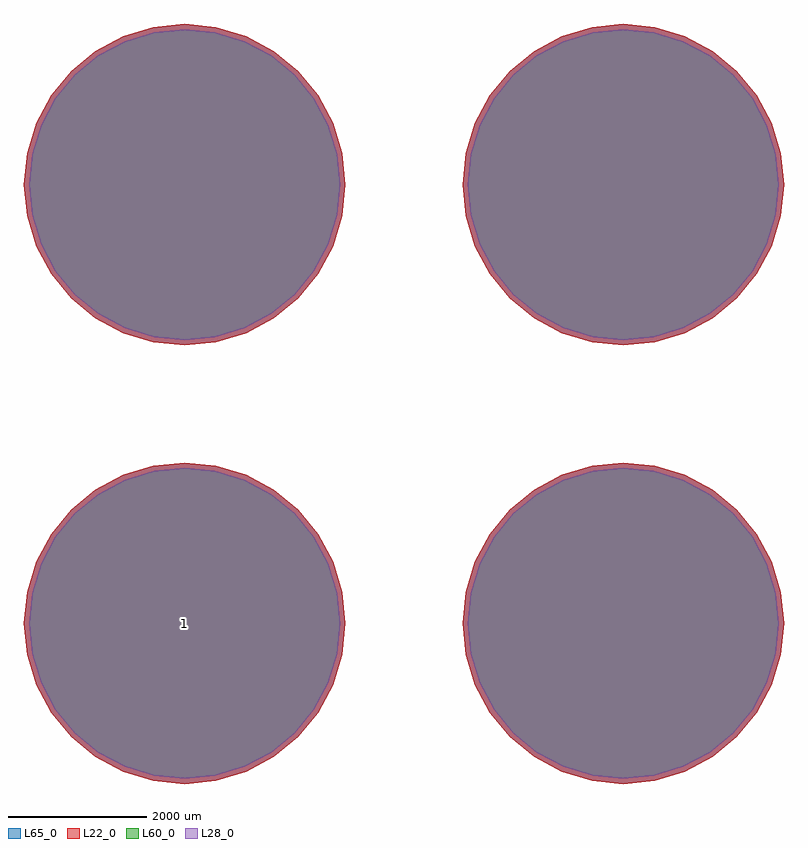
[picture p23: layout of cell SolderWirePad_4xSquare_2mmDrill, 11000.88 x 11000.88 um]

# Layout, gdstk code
import gdstk
lib = gdstk.Library(unit=1e-6, precision=1e-09)
def P(c, l, *ps):  # polygons
    for p in ps: c.add(gdstk.Polygon(p, *l))
L22_0 = (22, 0)
L28_0 = (28, 0)
L60_0 = (60, 0)
L65_0 = (65, 0)

solderwirepad_4xsquare_2 = lib.new_cell('SolderWirePad_4xSquare_2mmDrill')
P(solderwirepad_4xsquare_2, L22_0, [(5500.44,3175),(5455.757,3628.671),(5323.426,4064.907),(5108.533,4466.945),(4819.334,4819.334),(4466.945,5108.533),(4064.907,5323.426),(3628.671,5455.757),(3175,5500.44),(2721.329,5455.757),(2285.093,5323.426),(1883.055,5108.533),(1530.666,4819.334),(1241.467,4466.945),(1026.574,4064.907),(894.243,3628.671),(849.56,3175),(894.243,2721.329),(1026.574,2285.093),(1241.467,1883.055),(1530.666,1530.666),(1883.055,1241.467),(2285.093,1026.574),(2721.329,894.243),(3175,849.56),(3628.671,894.243),(4064.907,1026.574),(4466.945,1241.467),(4819.334,1530.666),(5108.533,1883.055),(5323.426,2285.093),(5455.757,2721.329)],
  [(-849.56,3175),(-894.243,3628.671),(-1026.574,4064.907),(-1241.467,4466.945),(-1530.666,4819.334),(-1883.055,5108.533),(-2285.093,5323.426),(-2721.329,5455.757),(-3175,5500.44),(-3628.671,5455.757),(-4064.907,5323.426),(-4466.945,5108.533),(-4819.334,4819.334),(-5108.533,4466.945),(-5323.426,4064.907),(-5455.757,3628.671),(-5500.44,3175),(-5455.757,2721.329),(-5323.426,2285.093),(-5108.533,1883.055),(-4819.334,1530.666),(-4466.945,1241.467),(-4064.907,1026.574),(-3628.671,894.243),(-3175,849.56),(-2721.329,894.243),(-2285.093,1026.574),(-1883.055,1241.467),(-1530.666,1530.666),(-1241.467,1883.055),(-1026.574,2285.093),(-894.243,2721.329)],
  [(5500.44,-3175),(5455.757,-2721.329),(5323.426,-2285.093),(5108.533,-1883.055),(4819.334,-1530.666),(4466.945,-1241.467),(4064.907,-1026.574),(3628.671,-894.243),(3175,-849.56),(2721.329,-894.243),(2285.093,-1026.574),(1883.055,-1241.467),(1530.666,-1530.666),(1241.467,-1883.055),(1026.574,-2285.093),(894.243,-2721.329),(849.56,-3175),(894.243,-3628.671),(1026.574,-4064.907),(1241.467,-4466.945),(1530.666,-4819.334),(1883.055,-5108.533),(2285.093,-5323.426),(2721.329,-5455.757),(3175,-5500.44),(3628.671,-5455.757),(4064.907,-5323.426),(4466.945,-5108.533),(4819.334,-4819.334),(5108.533,-4466.945),(5323.426,-4064.907),(5455.757,-3628.671)],
  [(-849.56,-3175),(-894.243,-2721.329),(-1026.574,-2285.093),(-1241.467,-1883.055),(-1530.666,-1530.666),(-1883.055,-1241.467),(-2285.093,-1026.574),(-2721.329,-894.243),(-3175,-849.56),(-3628.671,-894.243),(-4064.907,-1026.574),(-4466.945,-1241.467),(-4819.334,-1530.666),(-5108.533,-1883.055),(-5323.426,-2285.093),(-5455.757,-2721.329),(-5500.44,-3175),(-5455.757,-3628.671),(-5323.426,-4064.907),(-5108.533,-4466.945),(-4819.334,-4819.334),(-4466.945,-5108.533),(-4064.907,-5323.426),(-3628.671,-5455.757),(-3175,-5500.44),(-2721.329,-5455.757),(-2285.093,-5323.426),(-1883.055,-5108.533),(-1530.666,-4819.334),(-1241.467,-4466.945),(-1026.574,-4064.907),(-894.243,-3628.671)])
P(solderwirepad_4xsquare_2, L28_0, [(5425.44,3175),(5382.198,3614.039),(5254.135,4036.206),(5046.172,4425.277),(4766.301,4766.301),(4425.277,5046.172),(4036.206,5254.135),(3614.039,5382.198),(3175,5425.44),(2735.961,5382.198),(2313.794,5254.135),(1924.723,5046.172),(1583.699,4766.301),(1303.828,4425.277),(1095.865,4036.206),(967.802,3614.039),(924.56,3175),(967.802,2735.961),(1095.865,2313.794),(1303.828,1924.723),(1583.699,1583.699),(1924.723,1303.828),(2313.794,1095.865),(2735.961,967.802),(3175,924.56),(3614.039,967.802),(4036.206,1095.865),(4425.277,1303.828),(4766.301,1583.699),(5046.172,1924.723),(5254.135,2313.794),(5382.198,2735.961)],
  [(-924.56,3175),(-967.802,3614.039),(-1095.865,4036.206),(-1303.828,4425.277),(-1583.699,4766.301),(-1924.723,5046.172),(-2313.794,5254.135),(-2735.961,5382.198),(-3175,5425.44),(-3614.039,5382.198),(-4036.206,5254.135),(-4425.277,5046.172),(-4766.301,4766.301),(-5046.172,4425.277),(-5254.135,4036.206),(-5382.198,3614.039),(-5425.44,3175),(-5382.198,2735.961),(-5254.135,2313.794),(-5046.172,1924.723),(-4766.301,1583.699),(-4425.277,1303.828),(-4036.206,1095.865),(-3614.039,967.802),(-3175,924.56),(-2735.961,967.802),(-2313.794,1095.865),(-1924.723,1303.828),(-1583.699,1583.699),(-1303.828,1924.723),(-1095.865,2313.794),(-967.802,2735.961)],
  [(5425.44,-3175),(5382.198,-2735.961),(5254.135,-2313.794),(5046.172,-1924.723),(4766.301,-1583.699),(4425.277,-1303.828),(4036.206,-1095.865),(3614.039,-967.802),(3175,-924.56),(2735.961,-967.802),(2313.794,-1095.865),(1924.723,-1303.828),(1583.699,-1583.699),(1303.828,-1924.723),(1095.865,-2313.794),(967.802,-2735.961),(924.56,-3175),(967.802,-3614.039),(1095.865,-4036.206),(1303.828,-4425.277),(1583.699,-4766.301),(1924.723,-5046.172),(2313.794,-5254.135),(2735.961,-5382.198),(3175,-5425.44),(3614.039,-5382.198),(4036.206,-5254.135),(4425.277,-5046.172),(4766.301,-4766.301),(5046.172,-4425.277),(5254.135,-4036.206),(5382.198,-3614.039)],
  [(-924.56,-3175),(-967.802,-2735.961),(-1095.865,-2313.794),(-1303.828,-1924.723),(-1583.699,-1583.699),(-1924.723,-1303.828),(-2313.794,-1095.865),(-2735.961,-967.802),(-3175,-924.56),(-3614.039,-967.802),(-4036.206,-1095.865),(-4425.277,-1303.828),(-4766.301,-1583.699),(-5046.172,-1924.723),(-5254.135,-2313.794),(-5382.198,-2735.961),(-5425.44,-3175),(-5382.198,-3614.039),(-5254.135,-4036.206),(-5046.172,-4425.277),(-4766.301,-4766.301),(-4425.277,-5046.172),(-4036.206,-5254.135),(-3614.039,-5382.198),(-3175,-5425.44),(-2735.961,-5382.198),(-2313.794,-5254.135),(-1924.723,-5046.172),(-1583.699,-4766.301),(-1303.828,-4425.277),(-1095.865,-4036.206),(-967.802,-3614.039)])
P(solderwirepad_4xsquare_2, L60_0, [(5425.44,3175),(5382.198,3614.039),(5254.135,4036.206),(5046.172,4425.277),(4766.301,4766.301),(4425.277,5046.172),(4036.206,5254.135),(3614.039,5382.198),(3175,5425.44),(2735.961,5382.198),(2313.794,5254.135),(1924.723,5046.172),(1583.699,4766.301),(1303.828,4425.277),(1095.865,4036.206),(967.802,3614.039),(924.56,3175),(967.802,2735.961),(1095.865,2313.794),(1303.828,1924.723),(1583.699,1583.699),(1924.723,1303.828),(2313.794,1095.865),(2735.961,967.802),(3175,924.56),(3614.039,967.802),(4036.206,1095.865),(4425.277,1303.828),(4766.301,1583.699),(5046.172,1924.723),(5254.135,2313.794),(5382.198,2735.961)],
  [(-924.56,3175),(-967.802,3614.039),(-1095.865,4036.206),(-1303.828,4425.277),(-1583.699,4766.301),(-1924.723,5046.172),(-2313.794,5254.135),(-2735.961,5382.198),(-3175,5425.44),(-3614.039,5382.198),(-4036.206,5254.135),(-4425.277,5046.172),(-4766.301,4766.301),(-5046.172,4425.277),(-5254.135,4036.206),(-5382.198,3614.039),(-5425.44,3175),(-5382.198,2735.961),(-5254.135,2313.794),(-5046.172,1924.723),(-4766.301,1583.699),(-4425.277,1303.828),(-4036.206,1095.865),(-3614.039,967.802),(-3175,924.56),(-2735.961,967.802),(-2313.794,1095.865),(-1924.723,1303.828),(-1583.699,1583.699),(-1303.828,1924.723),(-1095.865,2313.794),(-967.802,2735.961)],
  [(5425.44,-3175),(5382.198,-2735.961),(5254.135,-2313.794),(5046.172,-1924.723),(4766.301,-1583.699),(4425.277,-1303.828),(4036.206,-1095.865),(3614.039,-967.802),(3175,-924.56),(2735.961,-967.802),(2313.794,-1095.865),(1924.723,-1303.828),(1583.699,-1583.699),(1303.828,-1924.723),(1095.865,-2313.794),(967.802,-2735.961),(924.56,-3175),(967.802,-3614.039),(1095.865,-4036.206),(1303.828,-4425.277),(1583.699,-4766.301),(1924.723,-5046.172),(2313.794,-5254.135),(2735.961,-5382.198),(3175,-5425.44),(3614.039,-5382.198),(4036.206,-5254.135),(4425.277,-5046.172),(4766.301,-4766.301),(5046.172,-4425.277),(5254.135,-4036.206),(5382.198,-3614.039)],
  [(-924.56,-3175),(-967.802,-2735.961),(-1095.865,-2313.794),(-1303.828,-1924.723),(-1583.699,-1583.699),(-1924.723,-1303.828),(-2313.794,-1095.865),(-2735.961,-967.802),(-3175,-924.56),(-3614.039,-967.802),(-4036.206,-1095.865),(-4425.277,-1303.828),(-4766.301,-1583.699),(-5046.172,-1924.723),(-5254.135,-2313.794),(-5382.198,-2735.961),(-5425.44,-3175),(-5382.198,-3614.039),(-5254.135,-4036.206),(-5046.172,-4425.277),(-4766.301,-4766.301),(-4425.277,-5046.172),(-4036.206,-5254.135),(-3614.039,-5382.198),(-3175,-5425.44),(-2735.961,-5382.198),(-2313.794,-5254.135),(-1924.723,-5046.172),(-1583.699,-4766.301),(-1303.828,-4425.277),(-1095.865,-4036.206),(-967.802,-3614.039)])
P(solderwirepad_4xsquare_2, L65_0, [(5500.44,3175),(5455.757,3628.671),(5323.426,4064.907),(5108.533,4466.945),(4819.334,4819.334),(4466.945,5108.533),(4064.907,5323.426),(3628.671,5455.757),(3175,5500.44),(2721.329,5455.757),(2285.093,5323.426),(1883.055,5108.533),(1530.666,4819.334),(1241.467,4466.945),(1026.574,4064.907),(894.243,3628.671),(849.56,3175),(894.243,2721.329),(1026.574,2285.093),(1241.467,1883.055),(1530.666,1530.666),(1883.055,1241.467),(2285.093,1026.574),(2721.329,894.243),(3175,849.56),(3628.671,894.243),(4064.907,1026.574),(4466.945,1241.467),(4819.334,1530.666),(5108.533,1883.055),(5323.426,2285.093),(5455.757,2721.329)],
  [(-849.56,3175),(-894.243,3628.671),(-1026.574,4064.907),(-1241.467,4466.945),(-1530.666,4819.334),(-1883.055,5108.533),(-2285.093,5323.426),(-2721.329,5455.757),(-3175,5500.44),(-3628.671,5455.757),(-4064.907,5323.426),(-4466.945,5108.533),(-4819.334,4819.334),(-5108.533,4466.945),(-5323.426,4064.907),(-5455.757,3628.671),(-5500.44,3175),(-5455.757,2721.329),(-5323.426,2285.093),(-5108.533,1883.055),(-4819.334,1530.666),(-4466.945,1241.467),(-4064.907,1026.574),(-3628.671,894.243),(-3175,849.56),(-2721.329,894.243),(-2285.093,1026.574),(-1883.055,1241.467),(-1530.666,1530.666),(-1241.467,1883.055),(-1026.574,2285.093),(-894.243,2721.329)],
  [(5500.44,-3175),(5455.757,-2721.329),(5323.426,-2285.093),(5108.533,-1883.055),(4819.334,-1530.666),(4466.945,-1241.467),(4064.907,-1026.574),(3628.671,-894.243),(3175,-849.56),(2721.329,-894.243),(2285.093,-1026.574),(1883.055,-1241.467),(1530.666,-1530.666),(1241.467,-1883.055),(1026.574,-2285.093),(894.243,-2721.329),(849.56,-3175),(894.243,-3628.671),(1026.574,-4064.907),(1241.467,-4466.945),(1530.666,-4819.334),(1883.055,-5108.533),(2285.093,-5323.426),(2721.329,-5455.757),(3175,-5500.44),(3628.671,-5455.757),(4064.907,-5323.426),(4466.945,-5108.533),(4819.334,-4819.334),(5108.533,-4466.945),(5323.426,-4064.907),(5455.757,-3628.671)],
  [(-849.56,-3175),(-894.243,-2721.329),(-1026.574,-2285.093),(-1241.467,-1883.055),(-1530.666,-1530.666),(-1883.055,-1241.467),(-2285.093,-1026.574),(-2721.329,-894.243),(-3175,-849.56),(-3628.671,-894.243),(-4064.907,-1026.574),(-4466.945,-1241.467),(-4819.334,-1530.666),(-5108.533,-1883.055),(-5323.426,-2285.093),(-5455.757,-2721.329),(-5500.44,-3175),(-5455.757,-3628.671),(-5323.426,-4064.907),(-5108.533,-4466.945),(-4819.334,-4819.334),(-4466.945,-5108.533),(-4064.907,-5323.426),(-3628.671,-5455.757),(-3175,-5500.44),(-2721.329,-5455.757),(-2285.093,-5323.426),(-1883.055,-5108.533),(-1530.666,-4819.334),(-1241.467,-4466.945),(-1026.574,-4064.907),(-894.243,-3628.671)])
solderwirepad_4xsquare_2.add(gdstk.Label('1', (-3175,-3175), layer=28, texttype=0))
solderwirepad_4xsquare_2.add(gdstk.Label('type', (0,-7620), layer=9, texttype=0))
solderwirepad_4xsquare_2.add(gdstk.Label('devicename', (0,6985), layer=9, texttype=0))

lib.write_gds('SolderWirePad_4xSquare_2mmDrill.gds')
